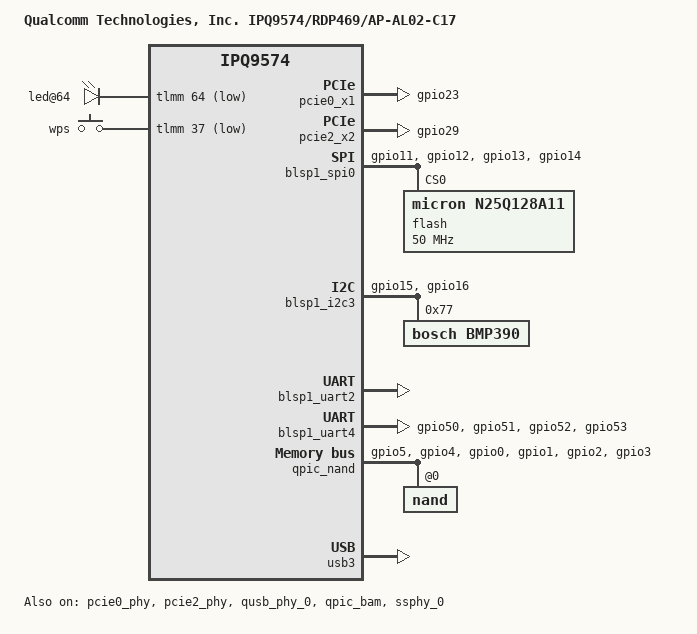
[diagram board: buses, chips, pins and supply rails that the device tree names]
// SPDX-License-Identifier: (GPL-2.0+ OR BSD-3-Clause)
/*
 * IPQ9574 RDP469 board device tree source
 *
 * Copyright (c) 2020-2021 The Linux Foundation. All rights reserved.
 * Copyright (c) 2022-2023 Qualcomm Innovation Center, Inc. All rights reserved.
 */

/dts-v1/;

#include <dt-bindings/gpio/gpio.h>
#include <dt-bindings/input/input.h>
#include "ipq9574.dtsi"

/ {
	model = "Qualcomm Technologies, Inc. IPQ9574/RDP469/AP-AL02-C17";
	compatible = "qcom,ipq9574-ap-al02-c17", "qcom,ipq9574-rdp469", "qcom,ipq9574";

	aliases {
		serial0 = &blsp1_uart2;
		serial1 = &blsp1_uart4;
	};

	chosen {
		stdout-path = "serial0:115200n8";
	};

	soc@0 {
		leds {
			compatible = "gpio-leds";
			pinctrl-0 = <&leds_pins>;
			pinctrl-names = "default";
			led@64 {
				gpios = <&tlmm 64 GPIO_ACTIVE_LOW>;
				linux,default-trigger = "led_2g";
				default-state = "off";
			};
		};

		gpio_keys {
			compatible = "gpio-keys";
			pinctrl-0 = <&button_pins>;
			pinctrl-names = "default";
			status = "okay";

			button@1 {
				label = "wps";
				linux,code = <KEY_WPS_BUTTON>;
				gpios = <&tlmm 37 GPIO_ACTIVE_LOW>;
				linux,input-type = <1>;
				debounce-interval = <60>;
			};
		};
	};
};

&pcie0_x1 {
	pinctrl-0 = <&pci0_pin>;
	pinctrl-names = "default";
	perst-gpio = <&tlmm 23 GPIO_ACTIVE_LOW>;
	status = "okay";

	pcie0_rp {
		reg = <0 0 0 0 0>;
	};
};

&pcie0_phy {
	status = "okay";
};

&pcie2_x2 {
	pinctrl-0 = <&pci2_pin>;
	pinctrl-names = "default";
	perst-gpio = <&tlmm 29 GPIO_ACTIVE_LOW>;
	status = "okay";

	pcie2_rp {
		reg = <0 0 0 0 0>;
	};
};

&pcie2_phy {
	status = "okay";
};

&qusb_phy_0 {
	status = "okay";
};

&blsp1_spi0 { /* BLSP1 QUP0 */
	pinctrl-0 = <&spi_0_pins>;
	pinctrl-names = "default";
	cs-select = <0>;
	status = "okay";

	flash@0 {
		compatible = "micron,n25q128a11", "jedec,spi-nor";
		reg = <0>;
		#address-cells = <1>;
		#size-cells = <1>;
		spi-max-frequency = <50000000>;
	};
};

&blsp1_i2c3 {
	pinctrl-0 = <&i2c_3_pins>;
	pinctrl-names = "default";
	status = "okay";

	bmp390@77 {
		compatible = "bosch,bmp390";
		reg = <0x77>;
	};
};

&blsp1_uart2 {
	pinctrl-0 = <&uart2_pins>;
	pinctrl-names = "default";
	status = "okay";
};

&blsp1_uart4 {
	pinctrl-0 = <&uart4_pins>;
	pinctrl-names = "default";
	status = "okay";
};


&qpic_bam {
	status = "okay";
};

&qpic_nand {
	pinctrl-0 = <&qspi_nand_pins>;
	pinctrl-names = "default";
	qcom,io_macro_max_clk = <320000000>;
	qcom,io_macro_clk_rates = <24000000 100000000 200000000 \
				   320000000>;
	status = "okay";

	nand@0 {
		reg = <0>;
		#address-cells = <1>;
		#size-cells = <1>;
		nand-ecc-strength = <4>;
		nand-ecc-step-size = <512>;
		nand-bus-width = <8>;
	};
};

&sleep_clk {
	clock-frequency = <32000>;
};

&ssphy_0 {
	status = "okay";
};

&rpm_requests {
	regulators {
		compatible = "qcom,rpm-mp5496-regulators";

		ipq9574_s1: s1 {
		 /*
		 * During kernel bootup, the SoC runs at 800MHz with 875mV set by the bootloaders.
		 * During regulator registration, kernel not knowing the initial voltage,
		 * considers it as zero and brings up the regulators with minimum supported voltage.
		 * Updating the regulator-min-microvolt with SVS voltage of 725000uV so that
		 * the regulators are brought up with 725000uV which is sufficient for all the
		 * corner parts to operate at 800MHz
		 */
			regulator-min-microvolt = <725000>;
			regulator-max-microvolt = <1075000>;
		};
	};
};

&tlmm {
	pci0_pin: pci0-default-state {
		pins = "gpio23";
		function = "gpio";
		drive-strength = <8>;
		bias-pull-up;
		output-low;
	};

	pci2_pin: pci2-default-state {
		pins = "gpio29";
		function = "gpio";
		drive-strength = <8>;
		bias-pull-down;
		output-low;
	};

	i2c_3_pins: i2c-3-pins {
		pins = "gpio15", "gpio16";
		function = "blsp3_i2c";
		drive-strength = <8>;
		bias-disable;
	};

	leds_pins: leds-state {
		pins = "gpio64";
		function = "gpio";
		drive-strength = <8>;
		bias-pull-up;
	};

	button_pins: button-state {
		pins = "gpio37";
		function = "gpio";
		drive-strength = <8>;
		bias-pull-up;
	};

	uart4_pins: uart4-pins {
		pins = "gpio50", "gpio51", "gpio52", "gpio53";
		function = "blsp4_uart";
		drive-strength = <8>;
		bias-disable;
	};

	spi_0_pins: spi-0-pins {
		pins = "gpio11", "gpio12", "gpio13", "gpio14";
		function = "blsp0_spi";
		drive-strength = <8>;
		bias-disable;
	};

	qspi_nand_pins: qspi_nand_pins {
		qspi_clock {
			pins = "gpio5";
			function = "qspi_clk";
			drive-strength = <8>;
			bias-disable;
		};

		qspi_cs {
			pins = "gpio4";
			function = "qspi_cs";
			drive-strength = <8>;
			bias-disable;
		};

		qspi_data {
			pins = "gpio0", "gpio1", "gpio2", "gpio3";
			function = "qspi_data";
			drive-strength = <8>;
			bias-disable;
		};
	};
};

&usb3 {
	status = "okay";
};

&xo_board_clk {
	clock-frequency = <24000000>;
};
